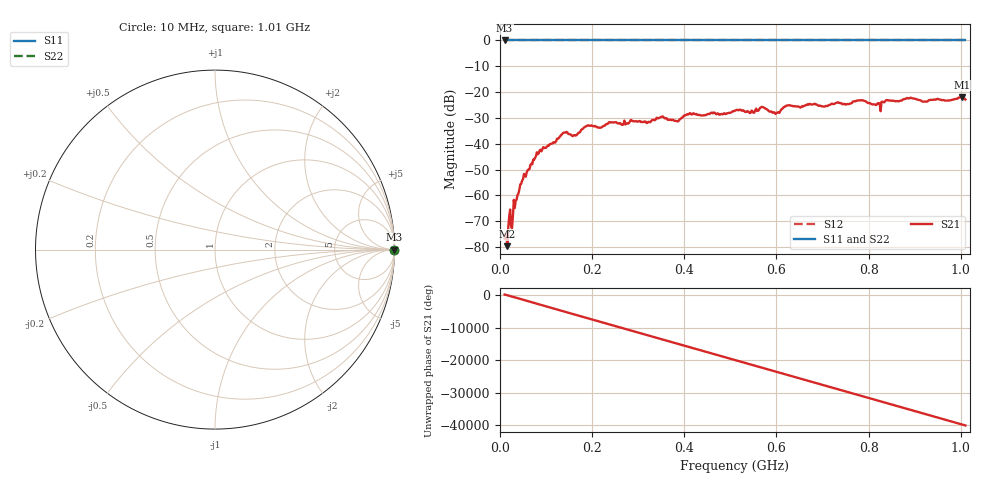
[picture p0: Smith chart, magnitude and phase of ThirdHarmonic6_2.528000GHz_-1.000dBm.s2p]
! 8/17/2025 5:01:31 AM
! C:\ANRITSUVNA\TEMP\TEMP.S2P
! CHANNEL.1
! TR.MEASUREMENT
! RAW.DATA
! RF.CORRECTION.OFF
! AVERAGING.OFF
! IF.BANDWIDTH: 5KHZ
! SWEEPTYPE:  FREQ.SWEEP(Linear)
! Reference Plane Port Info
! PORT:  PORT1  PORT2
! DISTANCE:  0  m  0  m
! TIME:  0  s  0  s
! PHASE.OFFSET:  0  deg.  0  deg.
! LOSS:  0  dB  0  dB
! REF.LOSS:  0  dB  0  dB
! REF.FREQ:  0  Hz  0  Hz
! Power Info
! POWER:  -20  dBm  -20  dBm
! EFF.POWER:  -20  dBm  -20  dBm
! SOURCE.ATTEN:  0  dB  0  dB
! TEST.ATTEN:  0  dB  0  dB
# GHZ S RI R 50.0
! FREQ.GHZ  S11RE  S11IM  S21RE  S21IM  S12RE  S12IM  S22RE  S22IM
!; PortSelection: Port_12
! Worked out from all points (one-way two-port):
!   501 points, 10 MHz to 1.01 GHz, reference 50 ohm
!   highest |S21| = -21.89 dB at 1.002 GHz (marker M1); lowest = -79.6 dB at 16 MHz (marker M2)
!   lowest |S11| = 0.0 dB at 10 MHz (marker M3)
!   |S11| at or under -10 dB: nowhere
!   |S22| runs from 0.0 to 0.0 dB; largest |S21 - S12| = 1.1
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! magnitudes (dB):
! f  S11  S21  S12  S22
! 10 MHz  0.0  -76.6  0.0  0.0
! 12 MHz  0.0  -74.8  0.0  0.0
! 16 MHz  0.0  -79.6  0.0  0.0
! 48 MHz  0.0  -54.3  0.0  0.0
! 84 MHz  0.0  -43.6  0.0  0.0
! 140 MHz  0.0  -35.6  0.0  0.0
! 162 MHz  0.0  -36.6  0.0  0.0
! 178 MHz  0.0  -34.4  0.0  0.0
! 344 MHz  0.0  -30.1  0.0  0.0
! 384 MHz  0.0  -31.2  0.0  0.0
! 410 MHz  0.0  -28.5  0.0  0.0
! 510 MHz  0.0  -27.2  0.0  0.0
! 548 MHz  0.0  -27.4  0.0  0.0
! 570 MHz  0.0  -25.8  0.0  0.0
! 602 MHz  0.0  -27.9  0.0  0.0
! 624 MHz  0.0  -25.2  0.0  0.0
! 678 MHz  0.0  -24.8  0.0  0.0
! 784 MHz  0.0  -23.2  0.0  0.0
! 822 MHz  0.0  -24.3  0.0  0.0
! 844 MHz  0.0  -23.2  0.0  0.0
! 1.002 GHz  0.0  -21.9  0.0  0.0
! 1.01 GHz  0.0  -22.8  0.0  0.0
